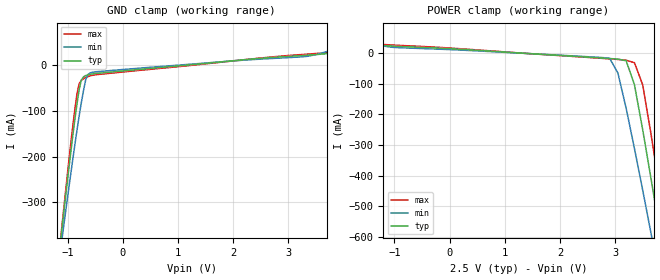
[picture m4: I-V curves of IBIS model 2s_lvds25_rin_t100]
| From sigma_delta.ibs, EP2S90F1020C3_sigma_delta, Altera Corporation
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[Model] 2s_lvds25_rin_t100
Model_type Input
Vinl=1.0V
Vinh=1.4V
C_comp  3.3000pF   NA   NA
[Temperature Range]   25.0000  85.0000  0.0000
[Voltage Range]   2.5000   2.3750   2.6250
[GND_Clamp]
| voltage   I(typ)   I(min)   I(max)
-2.5V     -1.923A    -1.714A    -2.044A
-1.11V    -366.1mA   -387.7mA   -360.6mA
-1.07V    -323.6mA   -351.5mA   -314.6mA
-910mV    -159.4mA   -210.1mA   -138.5mA
-830mV    -85.91mA   -143.1mA   -63.83mA
-790mV    -54.2mA    -111.5mA   -41.09mA
-750mV    -32.87mA   -82.06mA   -33.95mA
-670mV    -23.29mA   -32.09mA   -27.76mA
-590mV    -20.56mA   -17.52mA   -23.99mA
3.35V     21.09mA    18.58mA    23.38mA
4.1V      37.34mA    44.01mA    32.92mA
5V        74.5mA     77.57mA    70.68mA
[POWER_Clamp]
|voltage   I(typ)   I(min)   I(max)
-2.5V     74.5mA     71.05mA    76.05mA
-1.45V    31.37mA    31.88mA    32.16mA
-1.03V    22.58mA    18.66mA    26.07mA
2.9V      -17.87mA   -16.87mA   -18.97mA
3.05V     -19.79mA   -65.06mA   -20.8mA
3.2V      -25.21mA   -180.3mA   -23.5mA
3.35V     -103.2mA   -311.1mA   -31.56mA
3.5V      -250.3mA   -447.1mA   -103.8mA
3.65V     -408.9mA   -587.1mA   -263.5mA
3.8V      -571.4mA   -729mA     -436.1mA
3.95V     -736.6mA   -871.8mA   -612.9mA
5V        -1.923A    -1.884A    -1.891A
